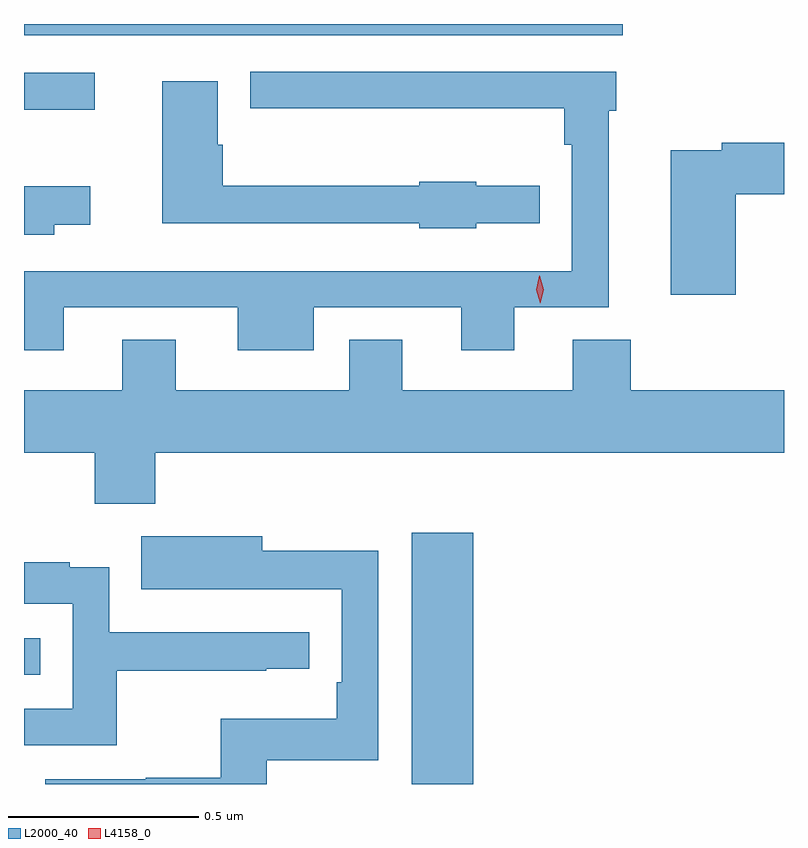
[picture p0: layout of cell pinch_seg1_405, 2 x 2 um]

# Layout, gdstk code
import gdstk
lib = gdstk.Library(unit=1e-6, precision=1e-09)
def R(c, l, rs):  # rectangles x0, y0, x1, y1
    for r in rs: c.add(gdstk.rectangle(r[:2], r[2:], *l))
def P(c, l, *ps):  # polygons
    for p in ps: c.add(gdstk.Polygon(p, *l))
L2000_40 = (2000, 40)
L4158_0 = (4158, 0)

pinch_seg1_405 = lib.new_cell('pinch_seg1_405')
R(pinch_seg1_405, L2000_40, [(987.839,522.888,988,523.549), (986.818,523.176,986.861,523.272), (986.818,524.663,987.004,524.76), (986.818,524.859,988.393,524.888)])
P(pinch_seg1_405, L2000_40, [(986.923,524.142),(987.38,524.142),(987.38,524.03),(987.58,524.03),(987.58,524.142),(987.968,524.142),(987.968,524.03),(988.108,524.03),(988.108,524.142),(988.357,524.142),(988.357,524.66),(988.376,524.66),(988.376,524.763),(987.413,524.763),(987.413,524.666),(988.24,524.666),(988.24,524.57),(988.26,524.57),(988.26,524.238),(986.818,524.238),(986.818,524.03),(986.923,524.03)],
  [(988.008,524.364),(988.175,524.364),(988.175,524.462),(988.008,524.462),(988.008,524.473),(987.858,524.473),(987.858,524.462),(987.341,524.462),(987.341,524.57),(987.328,524.57),(987.328,524.737),(987.182,524.737),(987.182,524.364),(987.858,524.364),(987.858,524.351),(988.008,524.351)],
  [(988.691,524.44),(988.818,524.44),(988.818,524.576),(988.654,524.576),(988.654,524.556),(988.52,524.556),(988.52,524.175),(988.691,524.175)],
  [(986.898,524.36),(986.992,524.36),(986.992,524.461),(986.818,524.461),(986.818,524.333),(986.898,524.333)],
  [(987.164,523.76),(988.818,523.76),(988.818,523.924),(988.415,523.924),(988.415,524.057),(988.262,524.057),(988.262,523.924),(987.814,523.924),(987.814,524.057),(987.674,524.057),(987.674,523.924),(987.217,523.924),(987.217,524.057),(987.077,524.057),(987.077,523.924),(986.818,523.924),(986.818,523.76),(987.004,523.76),(987.004,523.625),(987.164,523.625)],
  [(987.457,522.951),(987.75,522.951),(987.75,523.502),(987.445,523.502),(987.445,523.54),(987.127,523.54),(987.127,523.4),(987.341,523.4),(987.341,523.401),(987.654,523.401),(987.654,523.156),(987.641,523.156),(987.641,523.06),(987.336,523.06),(987.336,522.905),(987.139,522.905),(987.139,522.9),(986.874,522.9),(986.874,522.888),(987.457,522.888)],
  [(987.062,523.186),(987.455,523.186),(987.455,523.191),(987.568,523.191),(987.568,523.287),(987.042,523.287),(987.042,523.459),(986.939,523.459),(986.939,523.471),(986.818,523.471),(986.818,523.362),(986.946,523.362),(986.946,523.086),(986.818,523.086),(986.818,522.99),(987.062,522.99)])
P(pinch_seg1_405, L4158_0, [(988.177,524.153),(988.177,524.153),(988.166,524.189),(988.174,524.225),(988.174,524.225),(988.175,524.225),(988.186,524.189),(988.177,524.153)])

lib.write_gds('pinch_seg1_405.gds')
